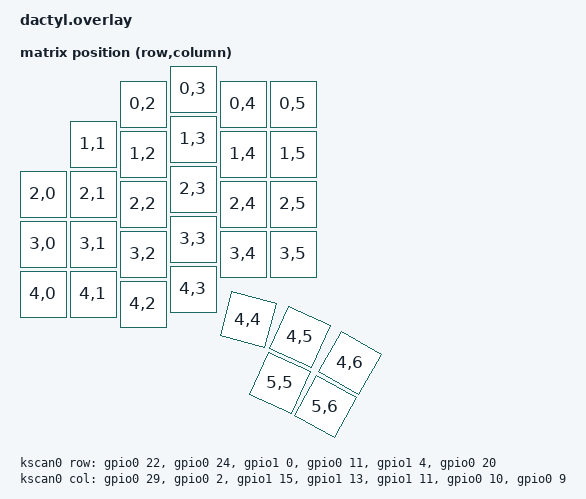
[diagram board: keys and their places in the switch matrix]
#include <dt-bindings/zmk/matrix_transform.h>
#include <physical_layouts.dtsi>

/ {
    physical_layout_0: physical_layout_0 {
        compatible = "zmk,physical-layout";
        display-name = "Dactyl";
        transform = <&default_transform>;
        kscan = <&kscan0>;
        keys  //                     w   h    x    y     rot    rx    ry
            = <&key_physical_attrs 100 100  200   30       0     0     0>
            , <&key_physical_attrs 100 100  300    0       0     0     0>
            , <&key_physical_attrs 100 100  400   30       0     0     0>
            , <&key_physical_attrs 100 100  500   30       0     0     0>
            , <&key_physical_attrs 100 100  100  110       0     0     0>
            , <&key_physical_attrs 100 100  200  130       0     0     0>
            , <&key_physical_attrs 100 100  300  100       0     0     0>
            , <&key_physical_attrs 100 100  400  130       0     0     0>
            , <&key_physical_attrs 100 100  500  130       0     0     0>
            , <&key_physical_attrs 100 100    0  210       0     0     0>
            , <&key_physical_attrs 100 100  100  210       0     0     0>
            , <&key_physical_attrs 100 100  200  230       0     0     0>
            , <&key_physical_attrs 100 100  300  200       0     0     0>
            , <&key_physical_attrs 100 100  400  230       0     0     0>
            , <&key_physical_attrs 100 100  500  230       0     0     0>
            , <&key_physical_attrs 100 100    0  310       0     0     0>
            , <&key_physical_attrs 100 100  100  310       0     0     0>
            , <&key_physical_attrs 100 100  200  330       0     0     0>
            , <&key_physical_attrs 100 100  300  300       0     0     0>
            , <&key_physical_attrs 100 100  400  330       0     0     0>
            , <&key_physical_attrs 100 100  500  330       0     0     0>
            , <&key_physical_attrs 100 100    0  410       0     0     0>
            , <&key_physical_attrs 100 100  100  410       0     0     0>
            , <&key_physical_attrs 100 100  200  430       0     0     0>
            , <&key_physical_attrs 100 100  300  400       0     0     0>
            , <&key_physical_attrs 100 100  425  450    1500   425   450>
            , <&key_physical_attrs 100 100  540  480    2450   540   480>
            , <&key_physical_attrs 100 100  645  530    2940   645   530>
            , <&key_physical_attrs 100 100  540  580    2450   540   480>
            , <&key_physical_attrs 100 100  645  630    2940   645   530>
            ;
    };

    chosen {
        zmk,physical-layout = &physical_layout_0;
    };

    default_transform: keymap_transform_0 {
        compatible = "zmk,matrix-transform";
        columns = <7>;
        rows = <6>;
        map = <
                        RC(0,2) RC(0,3) RC(0,4) RC(0,5)
                RC(1,1) RC(1,2) RC(1,3) RC(1,4) RC(1,5)
        RC(2,0) RC(2,1) RC(2,2) RC(2,3) RC(2,4) RC(2,5)
        RC(3,0) RC(3,1) RC(3,2) RC(3,3) RC(3,4) RC(3,5)
        RC(4,0) RC(4,1) RC(4,2) RC(4,3) RC(4,4) RC(4,5) RC(4,6)
                                                RC(5,5) RC(5,6)
        >;
    };

    kscan0: kscan {
        compatible = "zmk,kscan-gpio-matrix";
        diode-direction = "row2col";
        wakeup-source;
        col-gpios
            = <&gpio0 29 (GPIO_ACTIVE_HIGH | GPIO_PULL_DOWN)>
            , <&gpio0 2 (GPIO_ACTIVE_HIGH | GPIO_PULL_DOWN)>
            , <&gpio1 15 (GPIO_ACTIVE_HIGH | GPIO_PULL_DOWN)>
            , <&gpio1 13 (GPIO_ACTIVE_HIGH | GPIO_PULL_DOWN)>
            , <&gpio1 11 (GPIO_ACTIVE_HIGH | GPIO_PULL_DOWN)>
            , <&gpio0 10 (GPIO_ACTIVE_HIGH | GPIO_PULL_DOWN)>
            , <&gpio0 9 (GPIO_ACTIVE_HIGH | GPIO_PULL_DOWN)>
            ;
        row-gpios
            = <&gpio0 22 GPIO_ACTIVE_HIGH>
            , <&gpio0 24 GPIO_ACTIVE_HIGH>
            , <&gpio1 0 GPIO_ACTIVE_HIGH>
            , <&gpio0 11 GPIO_ACTIVE_HIGH>
            , <&gpio1 4 GPIO_ACTIVE_HIGH>
            , <&gpio0 20 GPIO_ACTIVE_HIGH>
            ;
    };
};
